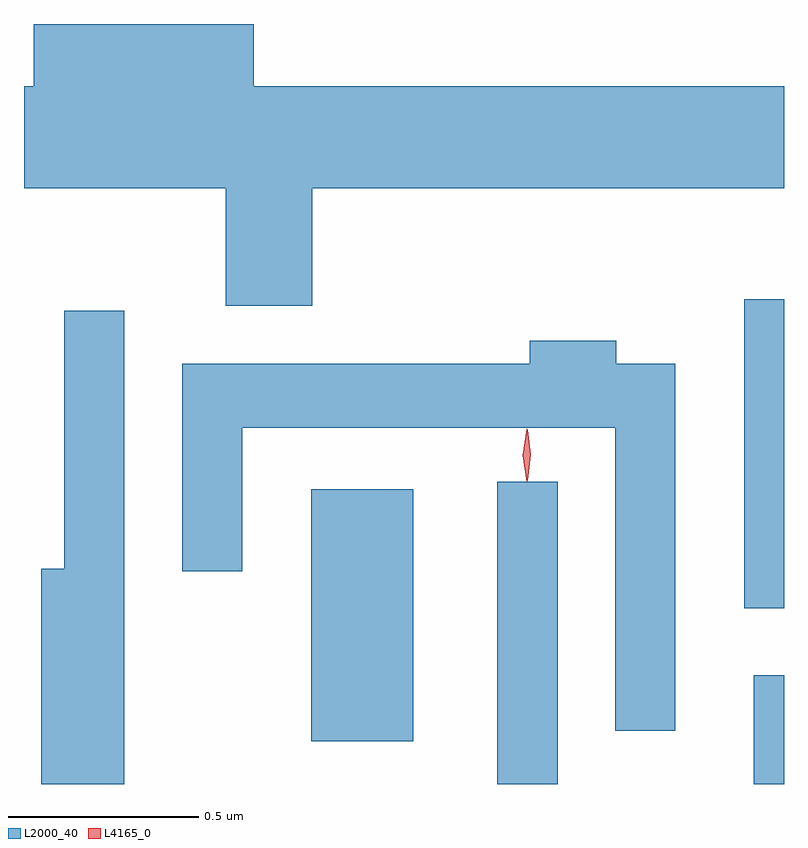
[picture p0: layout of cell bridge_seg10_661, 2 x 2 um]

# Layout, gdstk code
import gdstk
lib = gdstk.Library(unit=1e-6, precision=1e-09)
def R(c, l, rs):  # rectangles x0, y0, x1, y1
    for r in rs: c.add(gdstk.rectangle(r[:2], r[2:], *l))
def P(c, l, *ps):  # polygons
    for p in ps: c.add(gdstk.Polygon(p, *l))
L2000_40 = (2000, 40)
L4165_0 = (4165, 0)

bridge_seg10_661 = lib.new_cell('bridge_seg10_661')
R(bridge_seg10_661, L2000_40, [(843.276,2141.208,843.434,2142.003), (843.951,2141.208,844.03,2141.494), (842.786,2141.321,843.054,2141.984), (843.926,2141.671,844.03,2142.484)])
P(bridge_seg10_661, L2000_40, [(842.789,2142.776),(844.03,2142.776),(844.03,2143.044),(842.634,2143.044),(842.634,2143.208),(842.056,2143.208),(842.056,2143.044),(842.03,2143.044),(842.03,2142.776),(842.561,2142.776),(842.561,2142.466),(842.789,2142.466)],
  [(842.294,2142.453),(842.136,2142.453),(842.136,2141.774),(842.076,2141.774),(842.076,2141.208),(842.294,2141.208)],
  [(843.744,2142.314),(843.589,2142.314),(843.589,2142.374),(843.361,2142.374),(843.361,2142.314),(842.446,2142.314),(842.446,2141.768),(842.604,2141.768),(842.604,2142.146),(843.586,2142.146),(843.586,2141.348),(843.744,2141.348)])
P(bridge_seg10_661, L4165_0, [(843.353,2142.004),(843.353,2142.004),(843.343,2142.073),(843.353,2142.142),(843.353,2142.143),(843.354,2142.142),(843.363,2142.073),(843.354,2142.004)],
  [(843.354,2142.007),(843.354,2142.008),(843.344,2142.074),(843.354,2142.14),(843.354,2142.14),(843.355,2142.14),(843.364,2142.074),(843.355,2142.008)])

lib.write_gds('bridge_seg10_661.gds')
